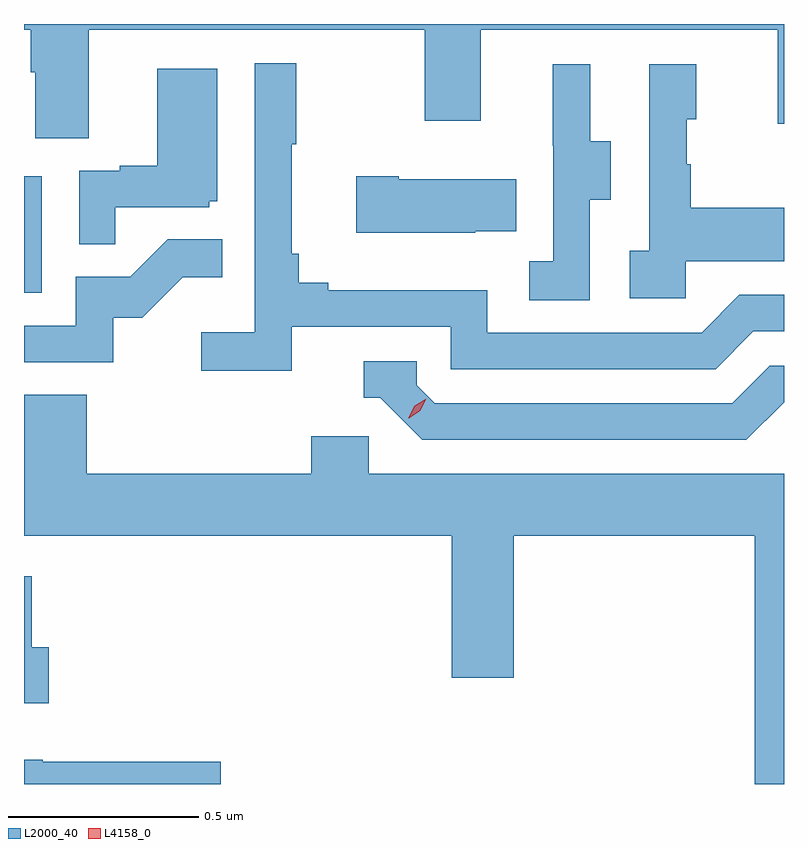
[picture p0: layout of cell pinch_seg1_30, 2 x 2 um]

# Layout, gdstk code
import gdstk
lib = gdstk.Library(unit=1e-6, precision=1e-09)
def R(c, l, rs):  # rectangles x0, y0, x1, y1
    for r in rs: c.add(gdstk.rectangle(r[:2], r[2:], *l))
def P(c, l, *ps):  # polygons
    for p in ps: c.add(gdstk.Polygon(p, *l))
L2000_40 = (2000, 40)
L4158_0 = (4158, 0)

pinch_seg1_30 = lib.new_cell('pinch_seg1_30')
R(pinch_seg1_30, L2000_40, [(1134.911,565.692,1134.958,565.999)])
P(pinch_seg1_30, L2000_40, [(1135.081,566.384),(1135.966,566.384),(1135.966,566.145),(1136.113,566.145),(1136.113,566.384),(1136.894,566.384),(1136.894,566.136),(1136.911,566.136),(1136.911,566.399),(1134.911,566.399),(1134.911,566.384),(1134.929,566.384),(1134.929,566.272),(1134.941,566.272),(1134.941,566.098),(1135.081,566.098)],
  [(1135.616,565.602),(1136.034,565.602),(1136.034,565.491),(1136.731,565.491),(1136.83,565.59),(1136.911,565.59),(1136.911,565.686),(1136.793,565.686),(1136.694,565.587),(1136.13,565.587),(1136.13,565.699),(1135.711,565.699),(1135.711,565.718),(1135.634,565.718),(1135.634,565.795),(1135.615,565.795),(1135.615,566.083),(1135.627,566.083),(1135.627,566.296),(1135.518,566.296),(1135.518,565.588),(1135.377,565.588),(1135.377,565.486),(1135.616,565.486)],
  [(1136.4,565.936),(1136.455,565.936),(1136.455,566.091),(1136.401,566.091),(1136.401,566.293),(1136.303,566.293),(1136.303,566.079),(1136.304,566.079),(1136.304,565.775),(1136.241,565.775),(1136.241,565.672),(1136.4,565.672)],
  [(1136.652,565.775),(1136.911,565.775),(1136.911,565.915),(1136.665,565.915),(1136.665,566.03),(1136.655,566.03),(1136.655,566.148),(1136.68,566.148),(1136.68,566.293),(1136.556,566.293),(1136.556,565.802),(1136.505,565.802),(1136.505,565.677),(1136.652,565.677)],
  [(1135.151,565.917),(1135.398,565.917),(1135.398,565.932),(1135.42,565.932),(1135.42,566.281),(1135.262,566.281),(1135.262,566.026),(1135.163,566.026),(1135.163,566.013),(1135.056,566.013),(1135.056,565.819),(1135.151,565.819)],
  [(1136.099,565.853),(1136.207,565.853),(1136.207,565.99),(1135.897,565.99),(1135.897,565.998),(1135.785,565.998),(1135.785,565.85),(1136.099,565.85)],
  [(1135.146,565.626),(1135.222,565.626),(1135.329,565.733),(1135.433,565.733),(1135.433,565.832),(1135.289,565.832),(1135.191,565.734),(1135.047,565.734),(1135.047,565.605),(1134.911,565.605),(1134.911,565.509),(1135.146,565.509)],
  [(1136.911,565.404),(1136.911,565.5),(1136.874,565.5),(1136.775,565.401),(1135.992,565.401),(1135.944,565.449),(1135.944,565.512),(1135.805,565.512),(1135.805,565.416),(1135.848,565.416),(1135.959,565.305),(1136.812,565.305)],
  [(1136.911,565.216),(1135.818,565.216),(1135.818,565.314),(1135.667,565.314),(1135.667,565.216),(1135.076,565.216),(1135.076,565.424),(1134.911,565.424),(1134.911,565.052),(1136.036,565.052),(1136.036,564.678),(1136.2,564.678),(1136.2,565.052),(1136.834,565.052),(1136.834,564.399),(1136.911,564.399)],
  [(1134.976,564.759),(1134.932,564.759),(1134.932,564.946),(1134.911,564.946),(1134.911,564.611),(1134.976,564.611)],
  [(1135.429,564.458),(1134.96,564.458),(1134.96,564.463),(1134.911,564.463),(1134.911,564.399),(1135.429,564.399)])
P(pinch_seg1_30, L4158_0, [(1135.922,565.361),(1135.922,565.362),(1135.939,565.394),(1135.97,565.413),(1135.97,565.413),(1135.97,565.413),(1135.954,565.381),(1135.923,565.361)])

lib.write_gds('pinch_seg1_30.gds')
